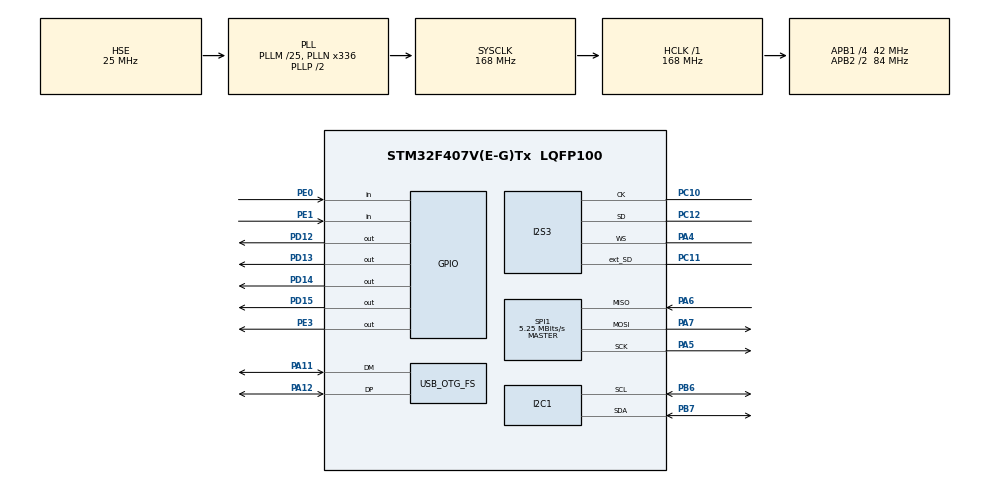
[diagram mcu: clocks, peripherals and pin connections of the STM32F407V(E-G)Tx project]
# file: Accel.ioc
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I2S3.ErrorAudioFreq=0.0 %
I2S3.FullDuplexMode=I2S_FULLDUPLEXMODE_ENABLE
I2S3.Instance=SPI$Index
I2S3.RealAudioFreq=8.0 KHz
I2S3.VirtualMode=I2S_MODE_MASTER
Mcu.Family=STM32F4
Mcu.Name=STM32F407V(E-G)Tx
Mcu.Package=LQFP100
NVIC.PriorityGroup=NVIC_PRIORITYGROUP_4
NVIC.RCC_IRQn=true\:0\:0\:false\:false\:true\:true
PA11.Mode=Host_Only
PA11.Signal=USB_OTG_FS_DM
PA12.Mode=Host_Only
PA12.Signal=USB_OTG_FS_DP
PA13.Mode=Serial_Wire
PA13.Signal=SYS_JTMS-SWDIO
PA14.Mode=Serial_Wire
PA14.Signal=SYS_JTCK-SWCLK
PA4.Mode=Full_Duplex_Master
PA4.Signal=I2S3_WS
PA5.Mode=Full_Duplex_Master
PA5.Signal=SPI1_SCK
PA6.Mode=Full_Duplex_Master
PA6.Signal=SPI1_MISO
PA7.Mode=Full_Duplex_Master
PA7.Signal=SPI1_MOSI
PB6.Mode=I2C
PB6.Signal=I2C1_SCL
PB7.Mode=I2C
PB7.Signal=I2C1_SDA
PC10.Mode=Full_Duplex_Master
PC10.Signal=I2S3_CK
PC11.Mode=Full_Duplex_Master
PC11.Signal=I2S3_ext_SD
PC12.Mode=Full_Duplex_Master
PC12.Signal=I2S3_SD
PD12.Signal=GPIO_Output
PD13.Signal=GPIO_Output
PD14.Signal=GPIO_Output
PD15.Signal=GPIO_Output
PE0.Signal=GPIO_Input
PE1.Signal=GPIO_Input
PE3.GPIO_Speed=GPIO_SPEED_FREQ_MEDIUM
PE3.Signal=GPIO_Output
PH0-OSC_IN.Mode=HSE-External-Oscillator
PH0-OSC_IN.Signal=RCC_OSC_IN
PH1-OSC_OUT.Mode=HSE-External-Oscillator
PH1-OSC_OUT.Signal=RCC_OSC_OUT
ProjectManager.HeapSize=0x2000
ProjectManager.StackSize=0x4000
ProjectManager.TargetToolchain=SW4STM32
RCC.48MHZClocksFreq_Value=48000000
RCC.AHBFreq_Value=168000000
RCC.APB1CLKDivider=RCC_HCLK_DIV4
RCC.APB1Freq_Value=42000000
RCC.APB1TimFreq_Value=84000000
RCC.APB2CLKDivider=RCC_HCLK_DIV2
RCC.APB2Freq_Value=84000000
RCC.APB2TimFreq_Value=168000000
RCC.CortexFreq_Value=168000000
RCC.HCLKFreq_Value=168000000
RCC.HSE_VALUE=25000000
RCC.HSI_VALUE=16000000
RCC.LSE_VALUE=32768
RCC.PLLM=25
RCC.PLLN=336
RCC.PLLQ=7
RCC.SYSCLKFreq_VALUE=168000000
RCC.SYSCLKSource=RCC_SYSCLKSOURCE_PLLCLK
RCC.VCOOutputFreq_Value=336000000
SPI1.BaudRatePrescaler=SPI_BAUDRATEPRESCALER_16
SPI1.CalculateBaudRate=5.25 MBits/s
SPI1.Direction=SPI_DIRECTION_2LINES
SPI1.Mode=SPI_MODE_MASTER
SPI1.VirtualType=VM_MASTER
USB_OTG_FS.VirtualMode=Host_Only
USB_OTG_FS.phy_itface=HCD_PHY_EMBEDDED
board=Accel

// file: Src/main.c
/**
  ******************************************************************************
  * File Name          : main.c
  * Description        : Main program body
  ******************************************************************************
  ** This notice applies to any and all portions of this file
  * that are not between comment pairs USER CODE BEGIN and
  * USER CODE END. Other portions of this file, whether
  * inserted by the user or by software development tools
  * are owned by their respective copyright owners.
  *
  * COPYRIGHT(c) 2018 STMicroelectronics
  *
  * Redistribution and use in source and binary forms, with or without modification,
  * are permitted provided that the following conditions are met:
  *   1. Redistributions of source code must retain the above copyright notice,
  *      this list of conditions and the following disclaimer.
  *   2. Redistributions in binary form must reproduce the above copyright notice,
  *      this list of conditions and the following disclaimer in the documentation
  *      and/or other materials provided with the distribution.
  *   3. Neither the name of STMicroelectronics nor the names of its contributors
  *      may be used to endorse or promote products derived from this software
  *      without specific prior written permission.
  *
  * THIS SOFTWARE IS PROVIDED BY THE COPYRIGHT HOLDERS AND CONTRIBUTORS "AS IS"
  * AND ANY EXPRESS OR IMPLIED WARRANTIES, INCLUDING, BUT NOT LIMITED TO, THE
  * IMPLIED WARRANTIES OF MERCHANTABILITY AND FITNESS FOR A PARTICULAR PURPOSE ARE
  * DISCLAIMED. IN NO EVENT SHALL THE COPYRIGHT HOLDER OR CONTRIBUTORS BE LIABLE
  * FOR ANY DIRECT, INDIRECT, INCIDENTAL, SPECIAL, EXEMPLARY, OR CONSEQUENTIAL
  * DAMAGES (INCLUDING, BUT NOT LIMITED TO, PROCUREMENT OF SUBSTITUTE GOODS OR
  * SERVICES; LOSS OF USE, DATA, OR PROFITS; OR BUSINESS INTERRUPTION) HOWEVER
  * CAUSED AND ON ANY THEORY OF LIABILITY, WHETHER IN CONTRACT, STRICT LIABILITY,
  * OR TORT (INCLUDING NEGLIGENCE OR OTHERWISE) ARISING IN ANY WAY OUT OF THE USE
  * OF THIS SOFTWARE, EVEN IF ADVISED OF THE POSSIBILITY OF SUCH DAMAGE.
  *
  ******************************************************************************
  */
#include <stm32f4_discovery_gyroscope.h>
#include "main.h"
#include "stm32f4xx_hal.h"

/* USER CODE BEGIN Includes */
#include "stm32f4_discovery.h"
#include "stm32f4_discovery_accelerometer.h"

#include "arm_math.h"
#include "math_helper.h"

#define TRESH 200
#define XP_ON  HAL_GPIO_WritePin(GPIOD,GPIO_PIN_14,GPIO_PIN_SET);	//Saida 0 ON
#define XP_OFF 	HAL_GPIO_WritePin(GPIOD,GPIO_PIN_14,GPIO_PIN_RESET);	//Saida 0 OFF
#define XN_ON  HAL_GPIO_WritePin(GPIOD,GPIO_PIN_12,GPIO_PIN_SET);	//Saida 1 ON
#define XN_OFF HAL_GPIO_WritePin(GPIOD,GPIO_PIN_12,GPIO_PIN_RESET);	//Saida 1 OFF
#define YP_ON  HAL_GPIO_WritePin(GPIOD,GPIO_PIN_13,GPIO_PIN_SET);	//Saida 2 ON
#define YP_OFF HAL_GPIO_WritePin(GPIOD,GPIO_PIN_13,GPIO_PIN_RESET);	//Saida 2 OFF
#define YN_ON  HAL_GPIO_WritePin(GPIOD,GPIO_PIN_15,GPIO_PIN_SET);	//Saida 3 ON
#define YN_OFF HAL_GPIO_WritePin(GPIOD,GPIO_PIN_15,GPIO_PIN_RESET);	//Saida 3 OFF

#define NUM_TAPS 29
#define TEST_LENGTH_SAMPLES 320
#define SNR_THRESHOLD_F32	140.0f
#define BLOCK_SIZE			32

/* USER CODE END Includes */

/* USER CODE BEGIN PV */
/* Private variables ---------------------------------------------------------*/
I2C_HandleTypeDef hi2c1;

I2S_HandleTypeDef hi2s3;

SPI_HandleTypeDef hspi1;

HCD_HandleTypeDef hhcd_USB_OTG_FS;

extern float32_t refOutput[TEST_LENGTH_SAMPLES];

static float32_t testOutput[TEST_LENGTH_SAMPLES];
/* USER CODE END PV */

void SystemClock_Config(void);
static void MX_GPIO_Init(void);
static void MX_SPI1_Init(void);
static void MX_USB_OTG_FS_HCD_Init(void);
static void MX_I2C1_Init(void);
static void MX_I2S3_Init(void);

/* USER CODE BEGIN PFP */
/* Private function prototypes -----------------------------------------------*/

static float32_t firStateF32[BLOCK_SIZE + NUM_TAPS - 1];
const float32_t firCoeffs32[NUM_TAPS] = {
-0.0018225230f, -0.0015879294f, +0.0000000000f, +0.0036977508f, +0.0080754303f, +0.0085302217f, -0.0000000000f, -0.0173976984f,
-0.0341458607f, -0.0333591565f, +0.0000000000f, +0.0676308395f, +0.1522061835f, +0.2229246956f, +0.2504960933f, +0.2229246956f,
+0.1522061835f, +0.0676308395f, +0.0000000000f, -0.0333591565f, -0.0341458607f, -0.0173976984f, -0.0000000000f, +0.0085302217f,
+0.0080754303f, +0.0036977508f, +0.0000000000f, -0.0015879294f, -0.0018225230f
};
uint32_t blockSize = BLOCK_SIZE;
uint32_t numBlocks = TEST_LENGTH_SAMPLES/BLOCK_SIZE;

/* USER CODE END PFP */

int main(void)
{

  /* USER CODE BEGIN 1 */
	float32_t xyz[3]={0};
	uint32_t i;
	arm_status status;
	arm_fir_instance_f32 S;
	float32_t  *inputF32, *outputF32;
	float32_t  snr;

  /* USER CODE END 1 */

  /* MCU Configuration----------------------------------------------------------*/

  /* Reset of all peripherals, Initializes the Flash interface and the Systick. */
  HAL_Init();

  /* Configure the system clock */
  SystemClock_Config();

  /* Initialize all configured peripherals */
  MX_GPIO_Init();
  MX_SPI1_Init();
  MX_USB_OTG_FS_HCD_Init();
  MX_I2C1_Init();
  MX_I2S3_Init();

  /* USER CODE BEGIN 2 */
  	BSP_ACCELERO_Init();
  	arm_fir_init_f32(&S, NUM_TAPS, (float32_t *)&firCoeffs32[0], &firStateF32[0], blockSize);
  /* USER CODE END 2 */

  /* Infinite loop */
  while (1)
  {
  /* USER CODE BEGIN 3 */
	  BSP_ACCELERO_GetXYZ(xyz);
	  inputF32 = &xyz[0];
	  outputF32 = &testOutput[0];
	  xyz[0] -=18;
	  	  xyz[1]+=72;
	  for(i=0; i < numBlocks; i++)
	      {
	        arm_fir_f32(&S, inputF32 + (i * blockSize), outputF32 + (i * blockSize), blockSize);
	      }
	  snr = arm_snr_f32(&refOutput[0], &testOutput[0], TEST_LENGTH_SAMPLES);

	    if (snr < SNR_THRESHOLD_F32)
	      {
	        status = ARM_MATH_TEST_FAILURE;
	      }
	    else
	      {
	        status = ARM_MATH_SUCCESS;
	      }

	  if(xyz[0] < -TRESH){
		  XP_OFF;
		  XN_ON;
	  }
	  else if(xyz[0] > TRESH){
		  XP_ON;
		  XN_OFF;
	  }
	  else{
		  XP_OFF;
		  XN_OFF;
	  }
	/*  if(xyz[1] < -TRESH){
		  YP_OFF;
		  YN_ON;
	  }
	  else if(xyz[1] > TRESH){
		  YP_ON;
		  YN_OFF;
	  }
	  else{
		  YP_OFF;
		  YN_OFF;
	  }*/
  }
  /* USER CODE END 3 */

}

/** System Clock Configuration
*/
void SystemClock_Config(void)
{

  RCC_OscInitTypeDef RCC_OscInitStruct;
  RCC_ClkInitTypeDef RCC_ClkInitStruct;
  RCC_PeriphCLKInitTypeDef PeriphClkInitStruct;

    /**Configure the main internal regulator output voltage
    */
  __HAL_RCC_PWR_CLK_ENABLE();

  __HAL_PWR_VOLTAGESCALING_CONFIG(PWR_REGULATOR_VOLTAGE_SCALE1);

    /**Initializes the CPU, AHB and APB busses clocks
    */
  RCC_OscInitStruct.OscillatorType = RCC_OSCILLATORTYPE_HSE;
  RCC_OscInitStruct.HSEState = RCC_HSE_ON;
  RCC_OscInitStruct.PLL.PLLState = RCC_PLL_ON;
  RCC_OscInitStruct.PLL.PLLSource = RCC_PLLSOURCE_HSE;
  RCC_OscInitStruct.PLL.PLLM = 25;
  RCC_OscInitStruct.PLL.PLLN = 336;
  RCC_OscInitStruct.PLL.PLLP = RCC_PLLP_DIV2;
  RCC_OscInitStruct.PLL.PLLQ = 7;
  if (HAL_RCC_OscConfig(&RCC_OscInitStruct) != HAL_OK)
  {
    _Error_Handler(__FILE__, __LINE__);
  }

    /**Initializes the CPU, AHB and APB busses clocks
    */
  RCC_ClkInitStruct.ClockType = RCC_CLOCKTYPE_HCLK|RCC_CLOCKTYPE_SYSCLK
                              |RCC_CLOCKTYPE_PCLK1|RCC_CLOCKTYPE_PCLK2;
  RCC_ClkInitStruct.SYSCLKSource = RCC_SYSCLKSOURCE_PLLCLK;
  RCC_ClkInitStruct.AHBCLKDivider = RCC_SYSCLK_DIV1;
  RCC_ClkInitStruct.APB1CLKDivider = RCC_HCLK_DIV4;
  RCC_ClkInitStruct.APB2CLKDivider = RCC_HCLK_DIV2;

  if (HAL_RCC_ClockConfig(&RCC_ClkInitStruct, FLASH_LATENCY_5) != HAL_OK)
  {
    _Error_Handler(__FILE__, __LINE__);
  }

  PeriphClkInitStruct.PeriphClockSelection = RCC_PERIPHCLK_I2S;
  PeriphClkInitStruct.PLLI2S.PLLI2SN = 192;
  PeriphClkInitStruct.PLLI2S.PLLI2SR = 2;
  if (HAL_RCCEx_PeriphCLKConfig(&PeriphClkInitStruct) != HAL_OK)
  {
    _Error_Handler(__FILE__, __LINE__);
  }

    /**Configure the Systick interrupt time
    */
  HAL_SYSTICK_Config(HAL_RCC_GetHCLKFreq()/1000);

    /**Configure the Systick
    */
  HAL_SYSTICK_CLKSourceConfig(SYSTICK_CLKSOURCE_HCLK);

  /* SysTick_IRQn interrupt configuration */
  HAL_NVIC_SetPriority(SysTick_IRQn, 0, 0);
}

/* I2C1 init function */
static void MX_I2C1_Init(void)
{

  hi2c1.Instance = I2C1;
  hi2c1.Init.ClockSpeed = 100000;
  hi2c1.Init.DutyCycle = I2C_DUTYCYCLE_2;
  hi2c1.Init.OwnAddress1 = 0;
  hi2c1.Init.AddressingMode = I2C_ADDRESSINGMODE_7BIT;
  hi2c1.Init.DualAddressMode = I2C_DUALADDRESS_DISABLE;
  hi2c1.Init.OwnAddress2 = 0;
  hi2c1.Init.GeneralCallMode = I2C_GENERALCALL_DISABLE;
  hi2c1.Init.NoStretchMode = I2C_NOSTRETCH_DISABLE;
  if (HAL_I2C_Init(&hi2c1) != HAL_OK)
  {
    _Error_Handler(__FILE__, __LINE__);
  }

}

/* I2S3 init function */
static void MX_I2S3_Init(void)
{

  hi2s3.Instance = SPI3;
  hi2s3.Init.Mode = I2S_MODE_MASTER_TX;
  hi2s3.Init.Standard = I2S_STANDARD_PHILIPS;
  hi2s3.Init.DataFormat = I2S_DATAFORMAT_16B;
  hi2s3.Init.MCLKOutput = I2S_MCLKOUTPUT_DISABLE;
  hi2s3.Init.AudioFreq = I2S_AUDIOFREQ_8K;
  hi2s3.Init.CPOL = I2S_CPOL_LOW;
  hi2s3.Init.ClockSource = I2S_CLOCK_PLL;
  hi2s3.Init.FullDuplexMode = I2S_FULLDUPLEXMODE_ENABLE;
  if (HAL_I2S_Init(&hi2s3) != HAL_OK)
  {
    _Error_Handler(__FILE__, __LINE__);
  }

}

/* SPI1 init function */
static void MX_SPI1_Init(void)
{

  /* SPI1 parameter configuration*/
  hspi1.Instance = SPI1;
  hspi1.Init.Mode = SPI_MODE_MASTER;
  hspi1.Init.Direction = SPI_DIRECTION_2LINES;
  hspi1.Init.DataSize = SPI_DATASIZE_8BIT;
  hspi1.Init.CLKPolarity = SPI_POLARITY_LOW;
  hspi1.Init.CLKPhase = SPI_PHASE_1EDGE;
  hspi1.Init.NSS = SPI_NSS_SOFT;
  hspi1.Init.BaudRatePrescaler = SPI_BAUDRATEPRESCALER_16;
  hspi1.Init.FirstBit = SPI_FIRSTBIT_MSB;
  hspi1.Init.TIMode = SPI_TIMODE_DISABLE;
  hspi1.Init.CRCCalculation = SPI_CRCCALCULATION_DISABLE;
  hspi1.Init.CRCPolynomial = 10;
  if (HAL_SPI_Init(&hspi1) != HAL_OK)
  {
    _Error_Handler(__FILE__, __LINE__);
  }

}

/* USB_OTG_FS init function */
static void MX_USB_OTG_FS_HCD_Init(void)
{

  hhcd_USB_OTG_FS.Instance = USB_OTG_FS;
  hhcd_USB_OTG_FS.Init.Host_channels = 8;
  hhcd_USB_OTG_FS.Init.speed = HCD_SPEED_FULL;
  hhcd_USB_OTG_FS.Init.dma_enable = DISABLE;
  hhcd_USB_OTG_FS.Init.phy_itface = HCD_PHY_EMBEDDED;
  hhcd_USB_OTG_FS.Init.Sof_enable = DISABLE;
  if (HAL_HCD_Init(&hhcd_USB_OTG_FS) != HAL_OK)
  {
    _Error_Handler(__FILE__, __LINE__);
  }

}

/** Configure pins as
        * Analog
        * Input
        * Output
        * EVENT_OUT
        * EXTI
*/
static void MX_GPIO_Init(void)
{

  GPIO_InitTypeDef GPIO_InitStruct;

  /* GPIO Ports Clock Enable */
  __HAL_RCC_GPIOE_CLK_ENABLE();
  __HAL_RCC_GPIOH_CLK_ENABLE();
  __HAL_RCC_GPIOA_CLK_ENABLE();
  __HAL_RCC_GPIOD_CLK_ENABLE();
  __HAL_RCC_GPIOC_CLK_ENABLE();
  __HAL_RCC_GPIOB_CLK_ENABLE();

  /*Configure GPIO pin Output Level */
  HAL_GPIO_WritePin(GPIOE, GPIO_PIN_3, GPIO_PIN_RESET);

  /*Configure GPIO pin Output Level */
  HAL_GPIO_WritePin(GPIOD, GPIO_PIN_12|GPIO_PIN_13|GPIO_PIN_14|GPIO_PIN_15, GPIO_PIN_RESET);

  /*Configure GPIO pin : PE3 */
  GPIO_InitStruct.Pin = GPIO_PIN_3;
  GPIO_InitStruct.Mode = GPIO_MODE_OUTPUT_PP;
  GPIO_InitStruct.Pull = GPIO_NOPULL;
  GPIO_InitStruct.Speed = GPIO_SPEED_FREQ_MEDIUM;
  HAL_GPIO_Init(GPIOE, &GPIO_InitStruct);

  /*Configure GPIO pins : PD12 PD13 PD14 PD15 */
  GPIO_InitStruct.Pin = GPIO_PIN_12|GPIO_PIN_13|GPIO_PIN_14|GPIO_PIN_15;
  GPIO_InitStruct.Mode = GPIO_MODE_OUTPUT_PP;
  GPIO_InitStruct.Pull = GPIO_NOPULL;
  GPIO_InitStruct.Speed = GPIO_SPEED_FREQ_LOW;
  HAL_GPIO_Init(GPIOD, &GPIO_InitStruct);

  /*Configure GPIO pins : PE0 PE1 */
  GPIO_InitStruct.Pin = GPIO_PIN_0|GPIO_PIN_1;
  GPIO_InitStruct.Mode = GPIO_MODE_INPUT;
  GPIO_InitStruct.Pull = GPIO_NOPULL;
  HAL_GPIO_Init(GPIOE, &GPIO_InitStruct);

}

void _Error_Handler(char * file, int line)
{
  while(1)
  {
  }
}

/************************ (C) COPYRIGHT STMicroelectronics *****END OF FILE****/
